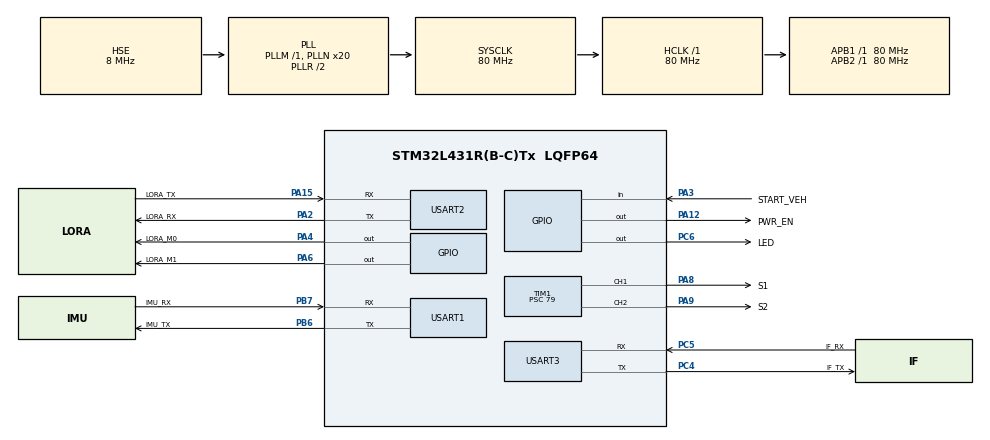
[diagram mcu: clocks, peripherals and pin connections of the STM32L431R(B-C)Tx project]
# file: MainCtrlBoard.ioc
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CRC.CRCLength=CRC_POLYLENGTH_8B
CRC.DefaultInitValueUse=DEFAULT_INIT_VALUE_DISABLE
CRC.DefaultPolynomialUse=DEFAULT_POLYNOMIAL_DISABLE
Mcu.Family=STM32L4
Mcu.Name=STM32L431R(B-C)Tx
Mcu.Package=LQFP64
NVIC.PriorityGroup=NVIC_PRIORITYGROUP_4
NVIC.USART1_IRQn=true\:1\:0\:true\:false\:true\:true\:true\:true
NVIC.USART2_IRQn=true\:1\:0\:true\:false\:true\:true\:true\:true
NVIC.USART3_IRQn=true\:1\:0\:true\:false\:true\:true\:true\:true
PA12.GPIO_Label=PWR_EN
PA12.Signal=GPIO_Output
PA13\ (JTMS-SWDIO).GPIO_Label=SWDIO
PA13\ (JTMS-SWDIO).Mode=Serial_Wire
PA13\ (JTMS-SWDIO).Signal=SYS_JTMS-SWDIO
PA14\ (JTCK-SWCLK).GPIO_Label=SWCLK
PA14\ (JTCK-SWCLK).Mode=Serial_Wire
PA14\ (JTCK-SWCLK).Signal=SYS_JTCK-SWCLK
PA15\ (JTDI).GPIO_Label=LORA_TX
PA15\ (JTDI).Mode=Asynchronous
PA15\ (JTDI).Signal=USART2_RX
PA2.GPIO_Label=LORA_RX
PA2.Mode=Asynchronous
PA2.Signal=USART2_TX
PA3.GPIO_Label=START_VEH
PA3.Signal=GPIO_Input
PA4.GPIO_Label=LORA_M0
PA4.Signal=GPIO_Output
PA6.GPIO_Label=LORA_M1
PA6.Signal=GPIO_Output
PA8.GPIO_Label=S1
PA8.Signal=S_TIM1_CH1
PA9.GPIO_Label=S2
PA9.Signal=S_TIM1_CH2
PB6.GPIO_Label=IMU_TX
PB6.Mode=Asynchronous
PB6.Signal=USART1_TX
PB7.GPIO_Label=IMU_RX
PB7.Mode=Asynchronous
PB7.Signal=USART1_RX
PC4.GPIO_Label=IF_TX
PC4.Mode=Asynchronous
PC4.Signal=USART3_TX
PC5.GPIO_Label=IF_RX
PC5.Mode=Asynchronous
PC5.Signal=USART3_RX
PC6.GPIO_Label=LED
PC6.Signal=GPIO_Output
PH0-OSC_IN\ (PH0).Mode=HSE-External-Oscillator
PH0-OSC_IN\ (PH0).Signal=RCC_OSC_IN
PH1-OSC_OUT\ (PH1).Mode=HSE-External-Oscillator
PH1-OSC_OUT\ (PH1).Signal=RCC_OSC_OUT
ProjectManager.HeapSize=0x200
ProjectManager.StackSize=0x400
ProjectManager.TargetToolchain=MDK-ARM V5.32
RCC.ADCFreq_Value=32000000
RCC.AHBFreq_Value=80000000
RCC.APB1Freq_Value=80000000
RCC.APB1TimFreq_Value=80000000
RCC.APB2Freq_Value=80000000
RCC.APB2TimFreq_Value=80000000
RCC.CortexFreq_Value=80000000
RCC.HCLKFreq_Value=80000000
RCC.HSE_VALUE=8000000
RCC.HSI48_VALUE=48000000
RCC.HSI_VALUE=16000000
RCC.LSE_VALUE=32768
RCC.MSI_VALUE=4000000
RCC.PLLN=20
RCC.PLLSourceVirtual=RCC_PLLSOURCE_HSE
RCC.SYSCLKFreq_VALUE=80000000
RCC.SYSCLKSource=RCC_SYSCLKSOURCE_PLLCLK
RCC.VCOOutputFreq_Value=160000000
SH.S_TIM1_CH1.0=TIM1_CH1,PWM Generation1 CH1
SH.S_TIM1_CH2.0=TIM1_CH2,PWM Generation2 CH2
TIM1.AutoReloadPreload=TIM_AUTORELOAD_PRELOAD_ENABLE
TIM1.Channel-PWM\ Generation1\ CH1=TIM_CHANNEL_1
TIM1.Channel-PWM\ Generation2\ CH2=TIM_CHANNEL_2
TIM1.Period=19999
TIM1.Prescaler=79
TIM1.Pulse-PWM\ Generation1\ CH1=1000
TIM1.Pulse-PWM\ Generation2\ CH2=1000
USART1.VirtualMode-Asynchronous=VM_ASYNC
USART2.VirtualMode-Asynchronous=VM_ASYNC
USART3.VirtualMode-Asynchronous=VM_ASYNC
VP_CRC_VS_CRC.Mode=CRC_Activate
VP_TIM1_VS_ClockSourceINT.Mode=Internal
board=custom

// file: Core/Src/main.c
/* USER CODE BEGIN Header */
/**
  ******************************************************************************
  * @file           : main.c
  * @brief          : Main program body
  ******************************************************************************
  * @attention
  *
  * Copyright (c) 2026 STMicroelectronics.
  * All rights reserved.
  *
  * This software is licensed under terms that can be found in the LICENSE file
  * in the root directory of this software component.
  * If no LICENSE file comes with this software, it is provided AS-IS.
  *
  ******************************************************************************
  */
/* USER CODE END Header */
#include "main.h"

/* USER CODE BEGIN PD */
#define MOTOR_STOP 1500
#define MOTOR_CRUISE 1650
#define MOTOR_SLOW 1550
#define MOTORL_FORWARD_MAX 2000
#define MOTORL_BACKWARD_MAX 1000
#define MOTORL_FOWARD_MIN 1520
#define MOTORL_BACKWARD_MIN 1480
#define MOTORR_FORWARD_MAX 2000
#define MOTORR_BACKWARD_MAX 1000
#define MOTORR_FOWARD_MIN 1520
#define MOTORR_BACKWARD_MIN 1480
/* USER CODE END PD */

CRC_HandleTypeDef hcrc;

TIM_HandleTypeDef htim1;

UART_HandleTypeDef huart1;
UART_HandleTypeDef huart2;
UART_HandleTypeDef huart3;

void SystemClock_Config(void);
static void MX_GPIO_Init(void);
static void MX_CRC_Init(void);
static void MX_TIM1_Init(void);
static void MX_USART1_UART_Init(void);
static void MX_USART2_UART_Init(void);
static void MX_USART3_UART_Init(void);
static uint16_t Power_To_PWM(float power);
/* USER CODE BEGIN PFP */
uint8_t IR_Protocol_CRC8(const uint8_t *data, size_t length);
/* USER CODE END PFP */

/* USER CODE BEGIN 0 */
static volatile uint8_t IsStarted = 0;
static volatile uint8_t IsFrameReady = 0;
uint8_t ir_rx_buffer[14];
uint8_t imu_rx_buffer[11];

volatile float ship_roll_angle = 0.0f;
float filtered_angle = 0.0f;
uint8_t crossing_lock = 0;
uint32_t lock_start_time = 0;
int16_t last_valid_angle = 0;
/* USER CODE END 0 */

int main(void)
{

  /* MCU Configuration--------------------------------------------------------*/

  /* Reset of all peripherals, Initializes the Flash interface and the Systick. */
  HAL_Init();

  /* Configure the system clock */
  SystemClock_Config();

  /* Initialize all configured peripherals */
  MX_GPIO_Init();
  MX_CRC_Init();
  MX_TIM1_Init();
  MX_USART1_UART_Init();
  MX_USART2_UART_Init();
  MX_USART3_UART_Init();
  /* USER CODE BEGIN 2 */
	HAL_TIM_PWM_Start(&htim1, TIM_CHANNEL_1);
	HAL_TIM_PWM_Start(&htim1, TIM_CHANNEL_2);
	__HAL_TIM_SET_COMPARE(&htim1, TIM_CHANNEL_1, MOTOR_STOP);
	__HAL_TIM_SET_COMPARE(&htim1, TIM_CHANNEL_2, MOTOR_STOP);
	HAL_Delay(2000);
	HAL_UART_Receive_IT(&huart3, ir_rx_buffer, 14);
  /* USER CODE END 2 */

  /* Infinite loop */
  while (1)
  {

    /* USER CODE BEGIN 3 */
		if (HAL_GPIO_ReadPin(START_VEH_GPIO_Port, START_VEH_Pin) == GPIO_PIN_SET)
		{
			HAL_Delay(20);
			if (HAL_GPIO_ReadPin(START_VEH_GPIO_Port, START_VEH_Pin) == GPIO_PIN_SET)
			{
				while(HAL_GPIO_ReadPin(START_VEH_GPIO_Port, START_VEH_Pin) == GPIO_PIN_SET) {}
				if (IsStarted == 0)
				{
					HAL_GPIO_WritePin(LED_GPIO_Port, LED_Pin, GPIO_PIN_SET);
					HAL_GPIO_WritePin(PWR_EN_GPIO_Port, PWR_EN_Pin, GPIO_PIN_SET);
					HAL_Delay(200);
					HAL_TIM_PWM_Start(&htim1, TIM_CHANNEL_1);
					HAL_TIM_PWM_Start(&htim1, TIM_CHANNEL_2);
					HAL_UART_Receive_IT(&huart3, ir_rx_buffer, 14);
					IsStarted = 1;
				}
				else
				{
					IsStarted = 0;
					HAL_TIM_PWM_Stop(&htim1, TIM_CHANNEL_1);
					HAL_TIM_PWM_Stop(&htim1, TIM_CHANNEL_2);
					HAL_GPIO_WritePin(PWR_EN_GPIO_Port, PWR_EN_Pin, GPIO_PIN_RESET);
					HAL_GPIO_WritePin(LED_GPIO_Port, LED_Pin, GPIO_PIN_RESET);
				}
			}
		}
		if (IsFrameReady == 1)
		{
			IsFrameReady = 0;
			if (ir_rx_buffer[0] != 0xAA || ir_rx_buffer[1] != 0x55)
			{
				continue;
			}
			if (IR_Protocol_CRC8(ir_rx_buffer, 13) != ir_rx_buffer[13])
			{
				continue;
			}
			if (ir_rx_buffer[11] != 0)
			{
				continue;
			}

			uint8_t flags = ir_rx_buffer[3];
			int16_t angle_tenth = (int16_t)(ir_rx_buffer[4] | (ir_rx_buffer[5] << 8));
			uint16_t strength = (uint16_t)(ir_rx_buffer[6] | (ir_rx_buffer[7] << 8));

			if (crossing_lock == 1)
			{
				if (HAL_GetTick() - lock_start_time < 1500)
				{
					__HAL_TIM_SET_COMPARE(&htim1, TIM_CHANNEL_1, MOTOR_STOP);
					__HAL_TIM_SET_COMPARE(&htim1, TIM_CHANNEL_2, MOTOR_STOP);
					continue;
				}
				else
				{
					crossing_lock = 0;
				}
			}

			if ((flags & 0x01) != 0)
			{
				if (strength < 100)
				{
					continue;
				}
				last_valid_angle = angle_tenth;
				uint16_t base_pwm = MOTOR_CRUISE;
				if (strength > 800)
				{
					base_pwm = MOTOR_SLOW;
				}
				filtered_angle = 0.6f * angle_tenth + 0.4f * filtered_angle;
				int16_t act_angle = (int16_t)filtered_angle;

				int16_t steering_offset = 0;
				if (act_angle > 50 || act_angle < -50)
				{
					steering_offset = (act_angle * 2)/10;
				}
				if (steering_offset > 300) steering_offset = 300;
				if (steering_offset < -300) steering_offset = -300;

				int16_t motor_L = base_pwm - steering_offset;
        int16_t motor_R = base_pwm + steering_offset;

				if (motor_L < MOTORL_BACKWARD_MAX) motor_L = MOTORL_BACKWARD_MAX;
        if (motor_L > MOTORL_FORWARD_MAX) motor_L = MOTORL_FORWARD_MAX;
        if (motor_R < MOTORR_BACKWARD_MAX) motor_R = MOTORR_BACKWARD_MAX;
        if (motor_R > MOTORR_FORWARD_MAX) motor_R = MOTORR_FORWARD_MAX;

				__HAL_TIM_SET_COMPARE(&htim1, TIM_CHANNEL_1, (uint16_t)motor_L);
        __HAL_TIM_SET_COMPARE(&htim1, TIM_CHANNEL_2, (uint16_t)motor_R);
			}
			else if ((flags & 0x02) != 0)
			{
				if (last_valid_angle < 30 && last_valid_angle > -30)
				{
					crossing_lock = 1;
					lock_start_time = HAL_GetTick();
				}
			}
		}
	}
  /* USER CODE END 3 */
}

void SystemClock_Config(void)
{
  RCC_OscInitTypeDef RCC_OscInitStruct = {0};
  RCC_ClkInitTypeDef RCC_ClkInitStruct = {0};

  /** Configure the main internal regulator output voltage
  */
  if (HAL_PWREx_ControlVoltageScaling(PWR_REGULATOR_VOLTAGE_SCALE1) != HAL_OK)
  {
    Error_Handler();
  }

  /** Initializes the RCC Oscillators according to the specified parameters
  * in the RCC_OscInitTypeDef structure.
  */
  RCC_OscInitStruct.OscillatorType = RCC_OSCILLATORTYPE_HSE;
  RCC_OscInitStruct.HSEState = RCC_HSE_ON;
  RCC_OscInitStruct.PLL.PLLState = RCC_PLL_ON;
  RCC_OscInitStruct.PLL.PLLSource = RCC_PLLSOURCE_HSE;
  RCC_OscInitStruct.PLL.PLLM = 1;
  RCC_OscInitStruct.PLL.PLLN = 20;
  RCC_OscInitStruct.PLL.PLLP = RCC_PLLP_DIV7;
  RCC_OscInitStruct.PLL.PLLQ = RCC_PLLQ_DIV2;
  RCC_OscInitStruct.PLL.PLLR = RCC_PLLR_DIV2;
  if (HAL_RCC_OscConfig(&RCC_OscInitStruct) != HAL_OK)
  {
    Error_Handler();
  }

  /** Initializes the CPU, AHB and APB buses clocks
  */
  RCC_ClkInitStruct.ClockType = RCC_CLOCKTYPE_HCLK|RCC_CLOCKTYPE_SYSCLK
                              |RCC_CLOCKTYPE_PCLK1|RCC_CLOCKTYPE_PCLK2;
  RCC_ClkInitStruct.SYSCLKSource = RCC_SYSCLKSOURCE_PLLCLK;
  RCC_ClkInitStruct.AHBCLKDivider = RCC_SYSCLK_DIV1;
  RCC_ClkInitStruct.APB1CLKDivider = RCC_HCLK_DIV1;
  RCC_ClkInitStruct.APB2CLKDivider = RCC_HCLK_DIV1;

  if (HAL_RCC_ClockConfig(&RCC_ClkInitStruct, FLASH_LATENCY_4) != HAL_OK)
  {
    Error_Handler();
  }
}

static void MX_CRC_Init(void)
{

  hcrc.Instance = CRC;
  hcrc.Init.DefaultPolynomialUse = DEFAULT_POLYNOMIAL_DISABLE;
  hcrc.Init.DefaultInitValueUse = DEFAULT_INIT_VALUE_DISABLE;
  hcrc.Init.GeneratingPolynomial = 7;
  hcrc.Init.CRCLength = CRC_POLYLENGTH_8B;
  hcrc.Init.InitValue = 0;
  hcrc.Init.InputDataInversionMode = CRC_INPUTDATA_INVERSION_NONE;
  hcrc.Init.OutputDataInversionMode = CRC_OUTPUTDATA_INVERSION_DISABLE;
  hcrc.InputDataFormat = CRC_INPUTDATA_FORMAT_BYTES;
  if (HAL_CRC_Init(&hcrc) != HAL_OK)
  {
    Error_Handler();
  }

}

static void MX_TIM1_Init(void)
{

  TIM_ClockConfigTypeDef sClockSourceConfig = {0};
  TIM_MasterConfigTypeDef sMasterConfig = {0};
  TIM_OC_InitTypeDef sConfigOC = {0};
  TIM_BreakDeadTimeConfigTypeDef sBreakDeadTimeConfig = {0};

  htim1.Instance = TIM1;
  htim1.Init.Prescaler = 79;
  htim1.Init.CounterMode = TIM_COUNTERMODE_UP;
  htim1.Init.Period = 19999;
  htim1.Init.ClockDivision = TIM_CLOCKDIVISION_DIV1;
  htim1.Init.RepetitionCounter = 0;
  htim1.Init.AutoReloadPreload = TIM_AUTORELOAD_PRELOAD_ENABLE;
  if (HAL_TIM_Base_Init(&htim1) != HAL_OK)
  {
    Error_Handler();
  }
  sClockSourceConfig.ClockSource = TIM_CLOCKSOURCE_INTERNAL;
  if (HAL_TIM_ConfigClockSource(&htim1, &sClockSourceConfig) != HAL_OK)
  {
    Error_Handler();
  }
  if (HAL_TIM_PWM_Init(&htim1) != HAL_OK)
  {
    Error_Handler();
  }
  sMasterConfig.MasterOutputTrigger = TIM_TRGO_RESET;
  sMasterConfig.MasterOutputTrigger2 = TIM_TRGO2_RESET;
  sMasterConfig.MasterSlaveMode = TIM_MASTERSLAVEMODE_DISABLE;
  if (HAL_TIMEx_MasterConfigSynchronization(&htim1, &sMasterConfig) != HAL_OK)
  {
    Error_Handler();
  }
  sConfigOC.OCMode = TIM_OCMODE_PWM1;
  sConfigOC.Pulse = 1000;
  sConfigOC.OCPolarity = TIM_OCPOLARITY_HIGH;
  sConfigOC.OCNPolarity = TIM_OCNPOLARITY_HIGH;
  sConfigOC.OCFastMode = TIM_OCFAST_DISABLE;
  sConfigOC.OCIdleState = TIM_OCIDLESTATE_RESET;
  sConfigOC.OCNIdleState = TIM_OCNIDLESTATE_RESET;
  if (HAL_TIM_PWM_ConfigChannel(&htim1, &sConfigOC, TIM_CHANNEL_1) != HAL_OK)
  {
    Error_Handler();
  }
  if (HAL_TIM_PWM_ConfigChannel(&htim1, &sConfigOC, TIM_CHANNEL_2) != HAL_OK)
  {
    Error_Handler();
  }
  sBreakDeadTimeConfig.OffStateRunMode = TIM_OSSR_DISABLE;
  sBreakDeadTimeConfig.OffStateIDLEMode = TIM_OSSI_DISABLE;
  sBreakDeadTimeConfig.LockLevel = TIM_LOCKLEVEL_OFF;
  sBreakDeadTimeConfig.DeadTime = 0;
  sBreakDeadTimeConfig.BreakState = TIM_BREAK_DISABLE;
  sBreakDeadTimeConfig.BreakPolarity = TIM_BREAKPOLARITY_HIGH;
  sBreakDeadTimeConfig.BreakFilter = 0;
  sBreakDeadTimeConfig.Break2State = TIM_BREAK2_DISABLE;
  sBreakDeadTimeConfig.Break2Polarity = TIM_BREAK2POLARITY_HIGH;
  sBreakDeadTimeConfig.Break2Filter = 0;
  sBreakDeadTimeConfig.AutomaticOutput = TIM_AUTOMATICOUTPUT_DISABLE;
  if (HAL_TIMEx_ConfigBreakDeadTime(&htim1, &sBreakDeadTimeConfig) != HAL_OK)
  {
    Error_Handler();
  }
  HAL_TIM_MspPostInit(&htim1);

}

static void MX_USART1_UART_Init(void)
{

  huart1.Instance = USART1;
  huart1.Init.BaudRate = 115200;
  huart1.Init.WordLength = UART_WORDLENGTH_8B;
  huart1.Init.StopBits = UART_STOPBITS_1;
  huart1.Init.Parity = UART_PARITY_NONE;
  huart1.Init.Mode = UART_MODE_TX_RX;
  huart1.Init.HwFlowCtl = UART_HWCONTROL_NONE;
  huart1.Init.OverSampling = UART_OVERSAMPLING_16;
  huart1.Init.OneBitSampling = UART_ONE_BIT_SAMPLE_DISABLE;
  huart1.AdvancedInit.AdvFeatureInit = UART_ADVFEATURE_NO_INIT;
  if (HAL_UART_Init(&huart1) != HAL_OK)
  {
    Error_Handler();
  }

}

static void MX_USART2_UART_Init(void)
{

  huart2.Instance = USART2;
  huart2.Init.BaudRate = 115200;
  huart2.Init.WordLength = UART_WORDLENGTH_8B;
  huart2.Init.StopBits = UART_STOPBITS_1;
  huart2.Init.Parity = UART_PARITY_NONE;
  huart2.Init.Mode = UART_MODE_TX_RX;
  huart2.Init.HwFlowCtl = UART_HWCONTROL_NONE;
  huart2.Init.OverSampling = UART_OVERSAMPLING_16;
  huart2.Init.OneBitSampling = UART_ONE_BIT_SAMPLE_DISABLE;
  huart2.AdvancedInit.AdvFeatureInit = UART_ADVFEATURE_NO_INIT;
  if (HAL_UART_Init(&huart2) != HAL_OK)
  {
    Error_Handler();
  }

}

static void MX_USART3_UART_Init(void)
{

  huart3.Instance = USART3;
  huart3.Init.BaudRate = 115200;
  huart3.Init.WordLength = UART_WORDLENGTH_8B;
  huart3.Init.StopBits = UART_STOPBITS_1;
  huart3.Init.Parity = UART_PARITY_NONE;
  huart3.Init.Mode = UART_MODE_TX_RX;
  huart3.Init.HwFlowCtl = UART_HWCONTROL_NONE;
  huart3.Init.OverSampling = UART_OVERSAMPLING_16;
  huart3.Init.OneBitSampling = UART_ONE_BIT_SAMPLE_DISABLE;
  huart3.AdvancedInit.AdvFeatureInit = UART_ADVFEATURE_NO_INIT;
  if (HAL_UART_Init(&huart3) != HAL_OK)
  {
    Error_Handler();
  }

}

static void MX_GPIO_Init(void)
{
  GPIO_InitTypeDef GPIO_InitStruct = {0};

  /* GPIO Ports Clock Enable */
  __HAL_RCC_GPIOH_CLK_ENABLE();
  __HAL_RCC_GPIOA_CLK_ENABLE();
  __HAL_RCC_GPIOC_CLK_ENABLE();
  __HAL_RCC_GPIOB_CLK_ENABLE();

  /*Configure GPIO pin Output Level */
  HAL_GPIO_WritePin(GPIOA, LORA_M0_Pin|LORA_M1_Pin|PWR_EN_Pin, GPIO_PIN_RESET);

  /*Configure GPIO pin Output Level */
  HAL_GPIO_WritePin(LED_GPIO_Port, LED_Pin, GPIO_PIN_RESET);

  /*Configure GPIO pin : START_VEH_Pin */
  GPIO_InitStruct.Pin = START_VEH_Pin;
  GPIO_InitStruct.Mode = GPIO_MODE_INPUT;
  GPIO_InitStruct.Pull = GPIO_NOPULL;
  HAL_GPIO_Init(START_VEH_GPIO_Port, &GPIO_InitStruct);

  /*Configure GPIO pins : LORA_M0_Pin LORA_M1_Pin PWR_EN_Pin */
  GPIO_InitStruct.Pin = LORA_M0_Pin|LORA_M1_Pin|PWR_EN_Pin;
  GPIO_InitStruct.Mode = GPIO_MODE_OUTPUT_PP;
  GPIO_InitStruct.Pull = GPIO_NOPULL;
  GPIO_InitStruct.Speed = GPIO_SPEED_FREQ_LOW;
  HAL_GPIO_Init(GPIOA, &GPIO_InitStruct);

  /*Configure GPIO pin : LED_Pin */
  GPIO_InitStruct.Pin = LED_Pin;
  GPIO_InitStruct.Mode = GPIO_MODE_OUTPUT_PP;
  GPIO_InitStruct.Pull = GPIO_NOPULL;
  GPIO_InitStruct.Speed = GPIO_SPEED_FREQ_LOW;
  HAL_GPIO_Init(LED_GPIO_Port, &GPIO_InitStruct);

}

/* USER CODE BEGIN 4 */
void HAL_UART_RxCpltCallback(UART_HandleTypeDef *huart)
{
	if (huart -> Instance == USART1)
	{
		HAL_UART_Receive_IT(&huart1, imu_rx_buffer, 11);
	}
	if (huart -> Instance == USART3)
	{
		IsFrameReady = 1;
		HAL_UART_Receive_IT(&huart3, ir_rx_buffer, 14);
	}
}

uint8_t IR_Protocol_CRC8(const uint8_t *data, size_t length)
{
    uint8_t crc = 0u;
    size_t i;
    uint8_t bit;

    if (data == NULL) {
        return 0u;
    }

    for (i = 0u; i < length; ++i) {
        crc ^= data[i];
        for (bit = 0u; bit < 8u; ++bit) {
            if ((crc & 0x80u) != 0u) {
                crc = (uint8_t)((uint8_t)(crc << 1) ^ 0x07u);
            } else {
                crc = (uint8_t)(crc << 1);
            }
        }
    }
    return crc;
}

uint16_t Power_To_PWM_L(float power)
{
	int32_t pwmL = MOTOR_STOP;
	if (power > 0.0f)
	{
		pwmL = MOTOR_STOP + (int32_t)(power * (MOTORL_FORWARD_MAX - MOTOR_STOP));
	}
	else if (power < 0.0f)
	{
		pwmL = MOTOR_STOP + (int32_t)(power * (MOTOR_STOP - MOTORL_FORWARD_MAX));
	}

	if ((pwmL > MOTOR_STOP && pwmL < MOTORL_FOWARD_MIN) || (pwmL < MOTOR_STOP && pwmL > MOTORL_FOWARD_MIN))
	{
		pwmL = MOTOR_STOP;
	}

	if (pwmL > MOTORL_FORWARD_MAX)
	{
		pwmL = MOTORL_FORWARD_MAX;
	}
	if (pwmL < MOTORL_BACKWARD_MAX)
	{
		pwmL = MOTORL_BACKWARD_MAX;
	}
	return (uint16_t)pwmL;
}

uint16_t Power_To_PWM_R(float power)
{
	int32_t pwmR = MOTOR_STOP;
		if (power > 0.0f)
	{
		pwmR = MOTOR_STOP + (int32_t)(power * (MOTORR_FORWARD_MAX - MOTOR_STOP));
	}
	else if (power < 0.0f)
	{
		pwmR = MOTOR_STOP + (int32_t)(power * (MOTOR_STOP - MOTORR_FORWARD_MAX));
	}

	if ((pwmR > MOTOR_STOP && pwmR < MOTORL_FOWARD_MIN) || (pwmR < MOTOR_STOP && pwmR > MOTORL_FOWARD_MIN))
	{
		pwmR = MOTOR_STOP;
	}

	if (pwmR > MOTORR_FORWARD_MAX)
	{
		pwmR = MOTORR_FORWARD_MAX;
	}

	if (pwmR > MOTORR_BACKWARD_MAX)
	{
		pwmR = MOTORR_BACKWARD_MAX;
	}

}
/* USER CODE END 4 */

void Error_Handler(void)
{
  __disable_irq();
  while (1)
  {
  }
}
